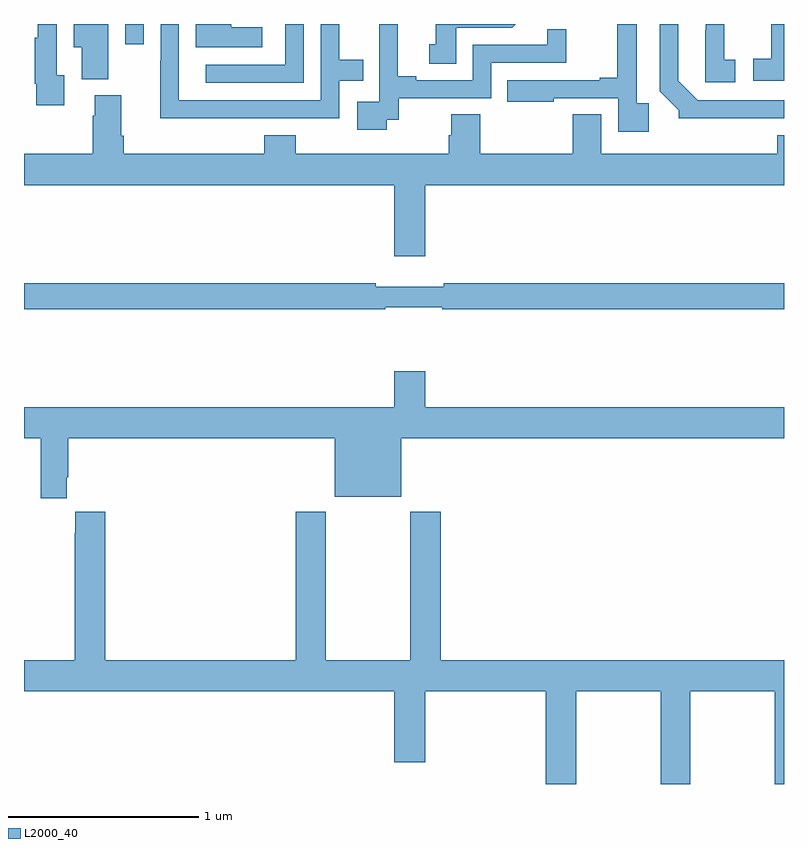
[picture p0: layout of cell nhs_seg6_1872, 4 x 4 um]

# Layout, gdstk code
import gdstk
lib = gdstk.Library(unit=1e-6, precision=1e-09)
def R(c, l, rs):  # rectangles x0, y0, x1, y1
    for r in rs: c.add(gdstk.rectangle(r[:2], r[2:], *l))
def P(c, l, *ps):  # polygons
    for p in ps: c.add(gdstk.Polygon(p, *l))
L2000_40 = (2000, 40)

nhs_seg6_1872 = lib.new_cell('nhs_seg6_1872')
R(nhs_seg6_1872, L2000_40, [(223.533,965.394,223.629,965.5)])
P(nhs_seg6_1872, L2000_40, [(225.274,965.481),(225.57,965.481),(225.589,965.5),(225.167,965.5),(225.167,965.394),(225.134,965.394),(225.134,965.29),(225.274,965.29)],
  [(226.88,965.004),(227,965.004),(227,965.1),(226.545,965.1),(226.444,965.201),(226.444,965.5),(226.347,965.5),(226.347,965.146),(226.446,965.047),(226.446,965.003),(226.88,965.003)],
  [(224.91,964.995),(224.972,964.995),(224.972,965.109),(225.459,965.109),(225.459,965.295),(225.854,965.295),(225.854,965.473),(225.753,965.473),(225.753,965.391),(225.363,965.391),(225.363,965.205),(225.064,965.205),(225.064,965.225),(224.968,965.225),(224.968,965.5),(224.87,965.5),(224.87,965.395),(224.871,965.395),(224.871,965.091),(224.754,965.091),(224.754,964.944),(224.91,964.944)],
  [(227,965.5),(226.933,965.5),(226.933,965.318),(226.839,965.318),(226.839,965.202),(227,965.202)],
  [(226.289,965.083),(226.224,965.083),(226.224,965.5),(226.123,965.5),(226.123,965.218),(226.031,965.218),(226.031,965.205),(225.544,965.205),(225.544,965.09),(225.787,965.09),(225.787,965.109),(226.128,965.109),(226.128,964.932),(226.289,964.932)],
  [(223.444,965.5),(223.262,965.5),(223.262,965.378),(223.304,965.378),(223.304,965.209),(223.444,965.209)],
  [(224.472,965.5),(224.376,965.5),(224.376,965.286),(223.956,965.286),(223.956,965.19),(224.472,965.19)],
  [(224.254,965.482),(224.091,965.482),(224.091,965.5),(223.904,965.5),(223.904,965.378),(224.254,965.378)],
  [(223.213,965.229),(223.173,965.229),(223.173,965.5),(223.072,965.5),(223.072,965.427),(223.057,965.427),(223.057,965.185),(223.065,965.185),(223.065,965.073),(223.213,965.073)],
  [(226.744,965.313),(226.686,965.313),(226.686,965.5),(226.587,965.5),(226.587,965.468),(226.586,965.468),(226.586,965.193),(226.744,965.193)],
  [(224.18,965.004),(224.658,965.004),(224.658,965.202),(224.786,965.202),(224.786,965.311),(224.659,965.311),(224.659,965.5),(224.562,965.5),(224.562,965.1),(223.815,965.1),(223.815,965.5),(223.719,965.5),(223.719,965.306),(223.718,965.306),(223.718,965.003),(224.18,965.003)],
  [(225.112,964.652),(227,964.652),(227,964.915),(226.964,964.915),(226.964,964.816),(226.039,964.816),(226.039,965.024),(225.887,965.024),(225.887,964.816),(225.401,964.816),(225.401,965.024),(225.248,965.024),(225.248,964.914),(225.236,964.914),(225.236,964.816),(224.429,964.816),(224.429,964.915),(224.264,964.915),(224.264,964.816),(223.526,964.816),(223.526,964.912),(223.513,964.912),(223.513,965.124),(223.373,965.124),(223.373,965.018),(223.361,965.018),(223.361,964.816),(223,964.816),(223,964.652),(224.948,964.652),(224.948,964.278),(225.112,964.278)],
  [(224.9,964.008),(225.2,964.008),(225.2,964),(227,964),(227,964.136),(225.208,964.136),(225.208,964.117),(224.852,964.117),(224.852,964.136),(223,964.136),(223,964),(224.9,964)],
  [(223.225,963.115),(223.232,963.115),(223.232,963.32),(224.636,963.32),(224.636,963.011),(224.986,963.011),(224.986,963.32),(227,963.32),(227,963.484),(225.112,963.484),(225.112,963.673),(224.948,963.673),(224.948,963.484),(223,963.484),(223,963.32),(223.088,963.32),(223.088,963.003),(223.225,963.003)],
  [(225.906,961.988),(226.351,961.988),(226.351,961.5),(226.506,961.5),(226.506,961.988),(226.951,961.988),(226.951,961.5),(227,961.5),(227,962.152),(225.194,962.152),(225.194,962.932),(225.034,962.932),(225.034,962.152),(224.589,962.152),(224.589,962.932),(224.429,962.932),(224.429,962.152),(223.427,962.152),(223.427,962.932),(223.271,962.932),(223.271,962.819),(223.267,962.819),(223.267,962.152),(223,962.152),(223,961.988),(224.948,961.988),(224.948,961.614),(225.112,961.614),(225.112,961.988),(225.746,961.988),(225.746,961.5),(225.906,961.5)])

lib.write_gds('nhs_seg6_1872.gds')
